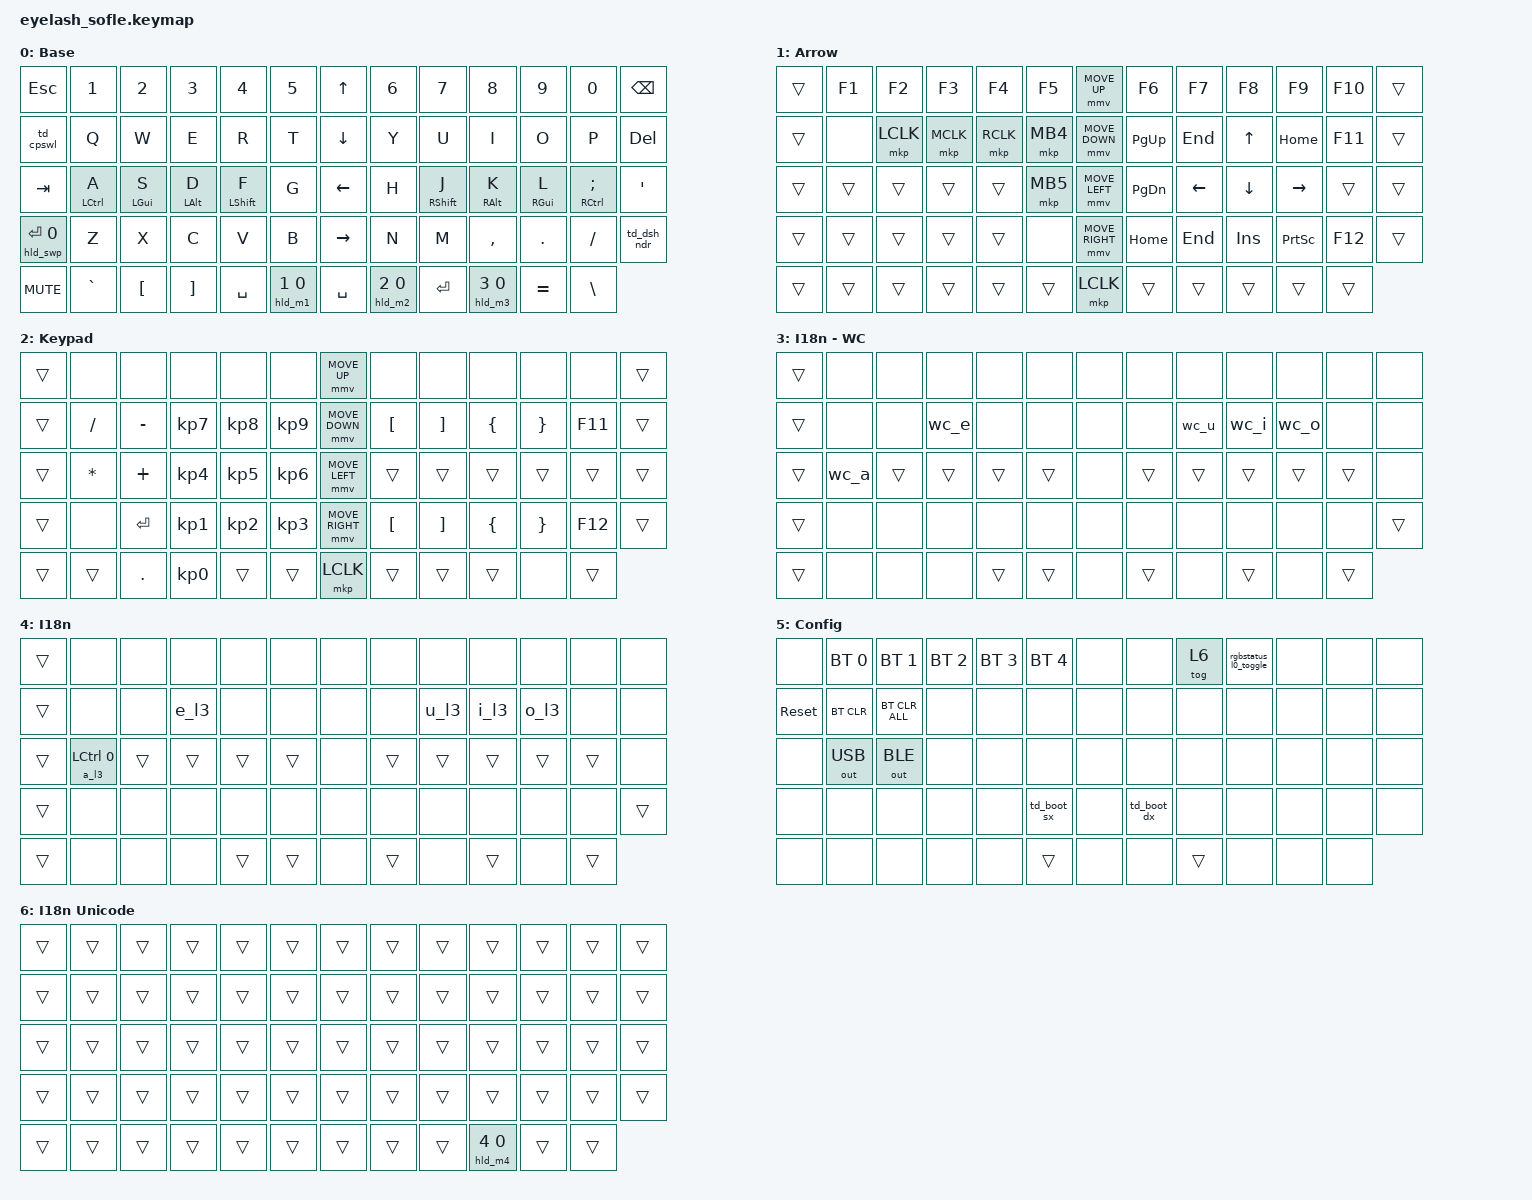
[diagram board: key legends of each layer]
#define ZMK_POINTING_DEFAULT_MOVE_VAL 1200  // 600
#define ZMK_POINTING_DEFAULT_SCRL_VAL 25   // 10
#define RGB_SOLID RGB_EFS_CMD 0
#define TT_TAP_DANCE_BASE 230
#define TT_TAP_DANCE_BOOT 250
#define TT_HOLD_TAP_BASE 180
#define TT_HOLD_TAP_MTT 200
#define TT_HOLD_TAP_SWAPPER 200
#define COMBO_TIMEOUT_BASE 150
#define COMBO_TIMEOUT_LAYER_TOGGLE 200
#define LISTENER_TAP_MS 5
#define LISTENER_WAIT_MS 5
 
#include <input/processors.dtsi>
#include <zephyr/dt-bindings/input/input-event-codes.h>
#include <behaviors.dtsi>
// Retained for upstream compatibility; rsr_* is not assigned to local sensor-bindings.
#include <behaviors/runtime-sensor-rotate.dtsi>
#include <dt-bindings/zmk/bt.h>
#include <dt-bindings/zmk/keys.h>
#include <dt-bindings/zmk/outputs.h>
#include <dt-bindings/zmk/pointing.h>
#include <dt-bindings/zmk/rgb.h>

&mmv_input_listener { input-processors = <&zip_xy_scaler 2 1>; };

&msc_input_listener { input-processors = <&zip_scroll_scaler 2 1>; };

&msc {
    acceleration-exponent = <1>;      // 0
    time-to-max-speed-ms = <100>;       // 300
    delay-ms = <0>;                   // 0
};

&mmv {
    time-to-max-speed-ms = <500>;
    acceleration-exponent = <1>;
    trigger-period-ms = <16>;
};

&soft_off { hold-time-ms = <0>; };

/ {
    macros {
#include "features/compose/altgr-macros.dtsi"
#include "features/compose/wincompose-macros.dtsi"
#include "features/lighting/macros.dtsi"
    };

    combos {
        compatible = "zmk,combos";
#include "features/compose/combos.dtsi"
#include "features/layers/combos.dtsi"
#include "features/shortcuts/combos.dtsi"
#include "features/system/combos.dtsi"
    };

    behaviors {
#include "features/info-widget/behaviors.dtsi"
#include "features/system/behaviors.dtsi"
#include "features/compose/behaviors.dtsi"
#include "features/caps/behaviors.dtsi"
#include "features/layers/behaviors.dtsi"
#include "features/lighting/behaviors.dtsi"

        // Upstream uses this for encoder volume control; this keyboard currently has no encoder.
        // rsr_vol: rsr_vol {
        //     compatible = "zmk,behavior-runtime-sensor-rotate";
        //     #sensor-binding-cells = <0>;
        //     tap-ms = <5>;
        //     cw-binding = <&kp C_VOL_UP>;
        //     ccw-binding = <&kp C_VOL_DN>;
        // };

        // Upstream uses this transparent runtime behavior on encoder layers; retained unreferenced.
        // rsr_trans: rsr_trans {
        //     compatible = "zmk,behavior-runtime-sensor-rotate";
        //     #sensor-binding-cells = <0>;
        //     tap-ms = <0>;
        // };

    };

#include "features/caps/listeners.dtsi"
#include "features/lighting/listeners.dtsi"

#include "features/compose/widget.dtsi"

    keymap {
        compatible = "zmk,keymap";

        layer_0 {
        bindings = <
&kp ESC           &kp N1           &kp N2        &kp N3              &kp N4             &kp N5                &kp UP_ARROW                    &kp N6           &kp N7           &kp N8        &kp N9          &kp N0           &kp BACKSPACE
&td_cpswl         &kp Q            &kp W         &kp E               &kp R              &kp T                 &kp DOWN_ARROW                  &kp Y            &kp U            &kp I         &kp O           &kp P            &kp DELETE
&kp TAB           &mtt LCTRL A     &mtt LGUI S   &mtt LALT D         &mtt LSHIFT F      &kp G                 &kp LEFT_ARROW                  &kp H            &mtt RSHIFT J    &mtt RALT K   &mtt RGUI L     &mtt RCTRL SEMI  &kp APOS
&hld_swp ENTER 0  &kp Z            &kp X         &kp C               &kp V              &kp B                 &kp RIGHT_ARROW                 &kp N            &kp M            &kp COMMA     &kp DOT         &kp FSLH         &td_dsh_ndr
&kp C_MUTE        &kp GRAVE        &kp LBKT      &kp RBKT            &kp SPACE          &hld_m1 1 0           &kp SPACE                       &hld_m2 2 0      &kp ENTER        &hld_m3 3 0   &kp EQUAL       &kp BSLH
        >;

            // Disabled: the current keyboard has no encoder.
            // sensor-bindings = <&inc_dec_kp C_VOLUME_UP C_VOL_DN>;
            display-name = "Base";
        };

        layer_1 {
            bindings = <
&trans            &kp F1           &kp F2          &kp F3            &kp F4              &kp F5                 &mmv MOVE_UP                   &kp F6           &kp F7           &kp F8        &kp F9         &kp F10           &trans
&trans            &none            &mkp LCLK       &mkp MCLK         &mkp RCLK           &mkp MB4               &mmv MOVE_DOWN                 &kp PG_UP        &kp END          &kp UP        &kp HOME       &kp F11           &trans
&trans            &trans           &trans          &trans            &trans              &mkp MB5               &mmv MOVE_LEFT                 &kp PG_DN        &kp LEFT         &kp DOWN      &kp RIGHT      &trans            &trans
&trans            &trans           &trans          &trans            &trans              &none                  &mmv MOVE_RIGHT                &kp HOME         &kp END          &kp INSERT    &kp PSCRN      &kp F12           &trans
&trans            &trans           &trans          &trans            &trans              &trans                 &mkp LCLK                      &trans           &trans           &trans        &trans         &trans 
            >;

            display-name = "Arrow";
            // Disabled: the current keyboard has no encoder.
            // sensor-bindings = <&scroll_encoder>;
        };

        layer_2 {
            bindings = <
&trans            &none            &none            &none            &none                &none                  &mmv MOVE_UP                  &none           &none             &none         &none           &none             &trans
&trans            &kp FSLH         &kp MINUS        &kp KP_N7        &kp KP_N8            &kp KP_N9              &mmv MOVE_DOWN                &kp LBKT        &kp RBKT          &kp LBRC      &kp RBRC        &kp F11           &trans
&trans            &kp STAR         &kp PLUS         &kp KP_N4        &kp KP_N5            &kp KP_N6              &mmv MOVE_LEFT                &trans          &trans            &trans        &trans          &trans            &trans
&trans            &none            &kp ENTER        &kp KP_N1        &kp KP_N2            &kp KP_N3              &mmv MOVE_RIGHT               &kp LBKT        &kp RBKT          &kp LBRC      &kp RBRC        &kp F12           &trans
&trans            &trans           &kp DOT          &kp KP_N0        &trans               &trans                 &mkp LCLK                     &trans          &trans            &trans        &none           &trans
                 >;

                // Disabled: the current keyboard has no encoder.
                // sensor-bindings = <&scroll_encoder>;
            display-name = "Keypad";
        };

        layer_3 {
            bindings = <
&trans            &none           &none             &none           &none                &none                  &none                         &none            &none            &none           &none          &none             &none
&trans            &none           &none             &wc_e           &none                &none                  &none                         &none            &wc_u           &wc_i           &wc_o          &none             &none
&trans            &wc_a           &trans            &trans          &trans               &trans                 &none                         &trans           &trans          &trans          &trans         &trans            &none
&trans            &none           &none             &none           &none                &none                  &none                         &none            &none            &none           &none          &none             &trans
&trans            &none           &none             &none           &trans               &trans                 &none                         &trans           &none            &trans          &none          &trans
            >;

            display-name = "I18n - WC";
            // Disabled: the current keyboard has no encoder.
            // sensor-bindings = <&scroll_encoder>;
        };

        layer_4 {
            bindings = <
&trans            &none           &none             &none           &none                &none                  &none                         &none            &none            &none           &none          &none             &none
&trans            &none           &none             &e_l3           &none                &none                  &none                         &none            &u_l3           &i_l3           &o_l3         &none             &none
&trans            &a_l3 LCTRL 0   &trans            &trans          &trans               &trans                 &none                         &trans           &trans          &trans          &trans         &trans            &none
&trans            &none           &none             &none           &none                &none                  &none                         &none            &none            &none           &none          &none             &trans
&trans            &none           &none             &none           &trans               &trans                 &none                         &trans           &none            &trans          &none          &trans 
            >;

            display-name = "I18n";
            // Disabled: the current keyboard has no encoder.
            // sensor-bindings = <&scroll_encoder>;
        };


        layer_5 {
            bindings = <
&none             &bt BT_SEL 0    &bt BT_SEL 1      &bt BT_SEL 2    &bt BT_SEL 3         &bt BT_SEL 4           &none                          &none                  &tog 6          &rgbstatus_l0_toggle &none          &none              &none
&sys_reset        &bt BT_CLR      &bt BT_CLR_ALL    &none           &none                &none                  &none                          &none                                   &none                &none          &none          &none              &none
&none             &out OUT_USB    &out OUT_BLE      &none           &none                &none                  &none                          &none                                   &none                &none          &none          &none              &none
&none             &none           &none             &none           &none                &td_boot_sx            &none                          &td_boot_dx                             &none                &none          &none          &none              &none
&none             &none           &none             &none           &none                &trans                 &none                          &none                                   &trans               &none          &none          &none
            >;

            // Disabled: the current keyboard has no encoder.
            // sensor-bindings = <&scroll_encoder>;
            display-name = "Config";
        }; 

        layer_6 {
            bindings = <
&trans            &trans          &trans            &trans          &trans               &trans                 &trans                        &trans           &trans          &trans          &trans         &trans            &trans
&trans            &trans          &trans            &trans          &trans               &trans                 &trans                        &trans           &trans          &trans          &trans         &trans            &trans
&trans            &trans          &trans            &trans          &trans               &trans                 &trans                        &trans           &trans          &trans          &trans         &trans            &trans
&trans            &trans          &trans            &trans          &trans               &trans                 &trans                        &trans           &trans          &trans          &trans         &trans            &trans
&trans            &trans          &trans            &trans          &trans               &trans                 &trans                        &trans           &trans          &hld_m4 4 0    &trans         &trans
            >;

            // Disabled: the current keyboard has no encoder.
            // sensor-bindings = <&scroll_encoder>;
            display-name = "I18n Unicode";
        };
    };
};
